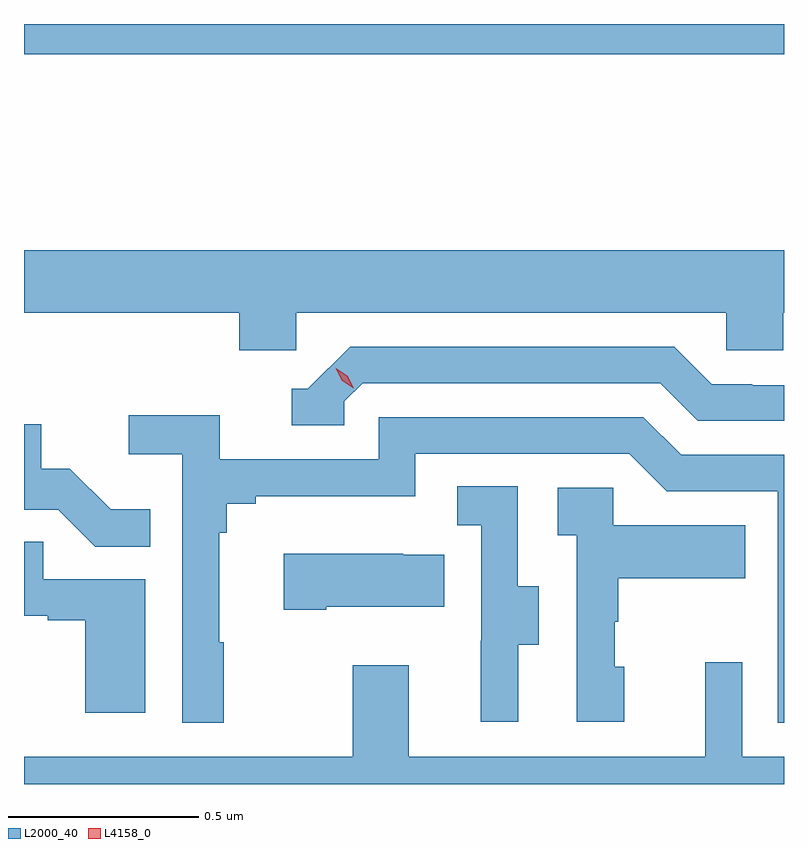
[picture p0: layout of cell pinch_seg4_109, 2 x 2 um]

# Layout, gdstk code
import gdstk
lib = gdstk.Library(unit=1e-6, precision=1e-09)
def R(c, l, rs):  # rectangles x0, y0, x1, y1
    for r in rs: c.add(gdstk.rectangle(r[:2], r[2:], *l))
def P(c, l, *ps):  # polygons
    for p in ps: c.add(gdstk.Polygon(p, *l))
L2000_40 = (2000, 40)
L4158_0 = (4158, 0)

pinch_seg4_109 = lib.new_cell('pinch_seg4_109')
R(pinch_seg4_109, L2000_40, [(1078.935,792.172,1080.935,792.252)])
P(pinch_seg4_109, L2000_40, [(1079.652,791.492),(1080.783,791.492),(1080.783,791.394),(1080.933,791.394),(1080.933,791.492),(1080.935,791.492),(1080.935,791.656),(1078.935,791.656),(1078.935,791.492),(1079.501,791.492),(1079.501,791.394),(1079.652,791.394)],
  [(1079.778,791.259),(1079.826,791.307),(1080.609,791.307),(1080.708,791.208),(1080.935,791.208),(1080.935,791.301),(1080.852,791.301),(1080.852,791.304),(1080.745,791.304),(1080.646,791.403),(1079.793,791.403),(1079.682,791.292),(1079.639,791.292),(1079.639,791.196),(1079.778,791.196)],
  [(1079.461,790.625),(1079.449,790.625),(1079.449,790.913),(1079.468,790.913),(1079.468,790.99),(1079.545,790.99),(1079.545,791.009),(1079.964,791.009),(1079.964,791.121),(1080.528,791.121),(1080.627,791.022),(1080.918,791.022),(1080.918,790.413),(1080.935,790.413),(1080.935,791.118),(1080.664,791.118),(1080.565,791.217),(1079.868,791.217),(1079.868,791.106),(1079.45,791.106),(1079.45,791.222),(1079.211,791.222),(1079.211,791.12),(1079.352,791.12),(1079.352,790.413),(1079.461,790.413)],
  [(1079.267,790.975),(1079.163,790.975),(1079.056,791.082),(1078.98,791.082),(1078.98,791.199),(1078.935,791.199),(1078.935,790.974),(1079.025,790.974),(1079.123,790.876),(1079.267,790.876)],
  [(1080.235,790.618),(1080.289,790.618),(1080.289,790.773),(1080.234,790.773),(1080.234,791.036),(1080.075,791.036),(1080.075,790.933),(1080.138,790.933),(1080.138,790.629),(1080.137,790.629),(1080.137,790.416),(1080.235,790.416)],
  [(1080.514,790.56),(1080.489,790.56),(1080.489,790.679),(1080.499,790.679),(1080.499,790.793),(1080.833,790.793),(1080.833,790.933),(1080.486,790.933),(1080.486,791.031),(1080.339,791.031),(1080.339,790.907),(1080.39,790.907),(1080.39,790.416),(1080.514,790.416)],
  [(1079.254,790.791),(1078.985,790.791),(1078.985,790.889),(1078.935,790.889),(1078.935,790.695),(1078.997,790.695),(1078.997,790.683),(1079.096,790.683),(1079.096,790.44),(1079.254,790.44)],
  [(1079.731,790.718),(1080.041,790.718),(1080.041,790.855),(1079.933,790.855),(1079.933,790.858),(1079.619,790.858),(1079.619,790.711),(1079.731,790.711)],
  [(1079.8,790.564),(1079.8,790.324),(1078.935,790.324),(1078.935,790.252),(1080.935,790.252),(1080.935,790.324),(1080.825,790.324),(1080.825,790.573),(1080.728,790.573),(1080.728,790.324),(1079.947,790.324),(1079.947,790.564)])
P(pinch_seg4_109, L4158_0, [(1079.803,791.293),(1079.772,791.313),(1079.755,791.346),(1079.755,791.346),(1079.756,791.346),(1079.786,791.326),(1079.803,791.294),(1079.803,791.293)])

lib.write_gds('pinch_seg4_109.gds')
